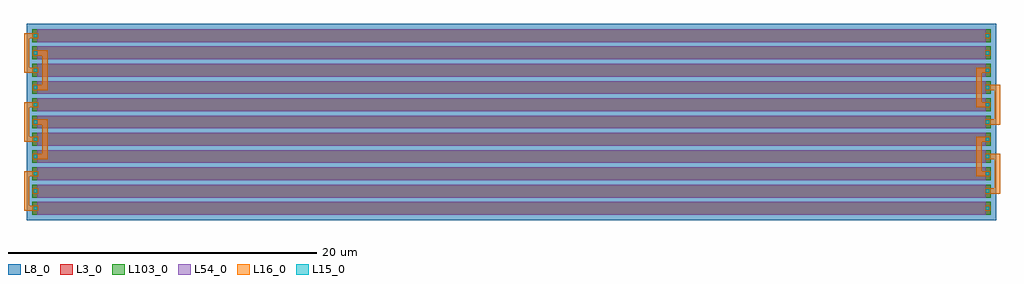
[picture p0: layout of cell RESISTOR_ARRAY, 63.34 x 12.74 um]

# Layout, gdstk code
import gdstk
lib = gdstk.Library(unit=1e-6, precision=1e-09)
def R(c, l, rs):  # rectangles x0, y0, x1, y1
    for r in rs: c.add(gdstk.rectangle(r[:2], r[2:], *l))
def A(c, l, x, y, w, h, nx, ny, dx, dy):  # array of equal rectangles
    R(c, l, [(x+i*dx, y+j*dy, x+i*dx+w, y+j*dy+h) for i in range(nx) for j in range(ny)])
L3_0 = (3, 0)
L8_0 = (8, 0)
L15_0 = (15, 0)
L16_0 = (16, 0)
L54_0 = (54, 0)
L103_0 = (103, 0)

resistor_array = lib.new_cell('RESISTOR_ARRAY')
A(resistor_array, L3_0, -0.32, 0, 62.22, 0.84, 1, 11, 0, 1.12)
A(resistor_array, L8_0, -0.67, -0.35, 62.92, 1.54, 1, 11, 0, 1.12)
A(resistor_array, L15_0, -0.22, 0.31, 0.22, 0.22, 1, 11, 0, 1.12)
A(resistor_array, L15_0, 61.58, 0.31, 0.22, 0.22, 1, 11, 0, 1.12)
A(resistor_array, L16_0, -0.85, 0.25, 0.34, 2.58, 1, 3, 0, 4.48)
A(resistor_array, L16_0, -0.51, 0.25, 0.23, 0.34, 1, 6, 0, 2.24)
A(resistor_array, L16_0, -0.28, 0.25, 0.34, 0.34, 1, 11, 0, 1.12)
A(resistor_array, L16_0, 61.52, 0.25, 0.34, 0.34, 1, 11, 0, 1.12)
A(resistor_array, L16_0, 61.58, 1.37, 0.91, 0.34, 1, 4, 0, 2.24)
A(resistor_array, L16_0, 61.29, 2.49, 0.29, 0.34, 1, 4, 0, 2.24)
A(resistor_array, L16_0, -0.28, 3.61, 0.91, 0.34, 1, 4, 0, 2.24)
R(resistor_array, L16_0, [(62.15,1.37,62.49,3.95), (60.95,2.49,61.29,5.07), (0.34,3.61,0.68,6.19), (62.15,5.85,62.49,8.43), (60.95,6.97,61.29,9.55), (0.34,8.09,0.68,10.67), (61.58,8.09,62.49,8.43)])
A(resistor_array, L54_0, 0, 0, 61.58, 0.84, 1, 11, 0, 1.12)
A(resistor_array, L103_0, -0.32, 0, 62.22, 0.84, 1, 11, 0, 1.12)

lib.write_gds('RESISTOR_ARRAY.gds')
